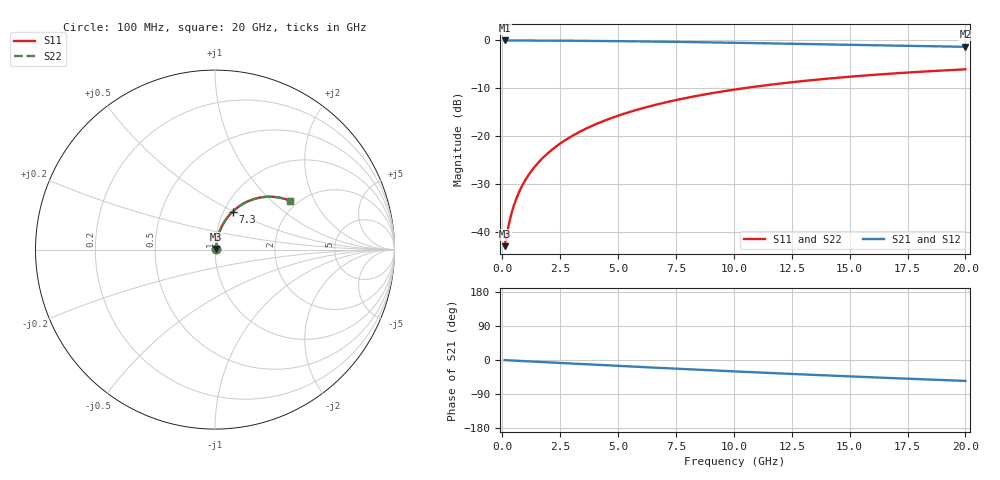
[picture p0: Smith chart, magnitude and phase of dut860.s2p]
! Touchstone file exported from HFSS 2026.1.0
!  File:  C:/ffzhzh/LocalFiles/Ansys_Project_Files/temp_train_BSMRDL_860_1783170720_43440.aedt
!  Generated:  09:13:27 PM Jul  4, 2026
!  Design:  BSMRDL
!  Project:  temp_train_BSMRDL_860_1783170720_43440
! Variables:
!  h_bsmrdl = 2.54um
!  h_ox = 20um
!  h_rdl = 5um
!  h_sub = 80um
!  h_tmrdl = 5um
!  h_tsv = 80um
!  h_via = 3um
!  l_bsmrdl = 830.28um
!  l_sub = 1230.28um
!  l_tmrdl = 200um
!  m_sub = 200um
!  pitch = 46.02um
!  r_tsv = 6um
!  s_tmrdl = 10um
!  w_bsmrdl = 19.18um
!  w_sub = 500um
!  w_tmrdl = 12um
!  x_tsv_center1 = 206um
!  x_tsv_center2 = 1055.46um
!  x_tsv_center3 = 1267.46um
!  x_tsv_center4 = 2116.92um
!  x_tsv_center5 = 2328.92um
!  x_tsv_center6 = 3178.38um
# GHz S MA R 50.000000
! Terminal data exported
! Port[1] = BSM_RDL1_1_T1
! Port[2] = BSM_RDL1_1_T2
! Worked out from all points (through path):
!   200 points, 100 MHz to 20 GHz, reference 50 ohm
!   highest |S21| = -0.05 dB at 100 MHz (marker M1); lowest = -1.4 dB at 20 GHz (marker M2)
!   group delay of S21, straight-line fit = 7.68 ps
!   lowest |S11| = -42.9 dB at 100 MHz (marker M3), VSWR 1.01, Z = 50.6 + j0.368 ohm
!   |S11| at or under -10 dB: start of sweep to 10.42 GHz
!   |S22| runs from -42.9 to -6.1 dB; largest |S21 - S12| = 4.3e-15
!   S11 on the Smith chart (normalised r, x): 100 MHz: 1.01, +0.01; 7.3 GHz: 1.10, +0.49; 20 GHz: 1.81, +1.31
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0.1  0.007195 30.4  0.9938 -0.3  0.9938 -0.3  0.007195 30.4
! Gamma 0 0 0 0
! Port Impedance 50 0 50 0
0.3  0.01266 58.0  0.9934 -1.0  0.9934 -1.0  0.01266 58.0
0.4  0.01583 63.5  0.9932 -1.3  0.9932 -1.3  0.01583 63.5
0.5  0.01904 67.0  0.9929 -1.6  0.9929 -1.6  0.01904 67.0
0.6  0.02227 69.4  0.9927 -1.9  0.9927 -1.9  0.02227 69.4
0.8  0.02872 72.5  0.9922 -2.6  0.9922 -2.6  0.02872 72.5
1.1  0.03843 75.0  0.9916 -3.5  0.9916 -3.5  0.03843 75.0
1.3  0.04493 75.9  0.9912 -4.1  0.9912 -4.1  0.04493 75.9
1.6  0.05471 76.6  0.9906 -5.0  0.9906 -5.0  0.05471 76.6
2.1  0.07104 76.8  0.9893 -6.6  0.9893 -6.6  0.07104 76.8
2.7  0.0906 76.3  0.9876 -8.4  0.9876 -8.4  0.0906 76.3
3.5  0.1165 74.9  0.9846 -10.9  0.9846 -10.9  0.1165 74.8
4.2  0.1388 73.3  0.9814 -13.0  0.9814 -13.0  0.1388 73.3
5  0.1638 71.3  0.9773 -15.5  0.9773 -15.5  0.1638 71.3
5.9  0.1914 69.0  0.9719 -18.2  0.9719 -18.2  0.1914 68.9
6.8  0.2181 66.5  0.9659 -20.8  0.9659 -20.8  0.2181 66.5
7.3  0.2326 65.2  0.9623 -22.3  0.9623 -22.3  0.2326 65.2
8.6  0.2689 61.6  0.9523 -26.1  0.9523 -26.1  0.2689 61.6
10.1  0.3082 57.6  0.9397 -30.3  0.9397 -30.3  0.3082 57.6
13.4  0.3847 49.0  0.9102 -39.1  0.9102 -39.1  0.3847 48.9
16.7  0.4475 40.9  0.8806 -47.4  0.8806 -47.4  0.4475 40.8
20  0.4974 33.3  0.8533 -55.2  0.8533 -55.2  0.4975 33.2
